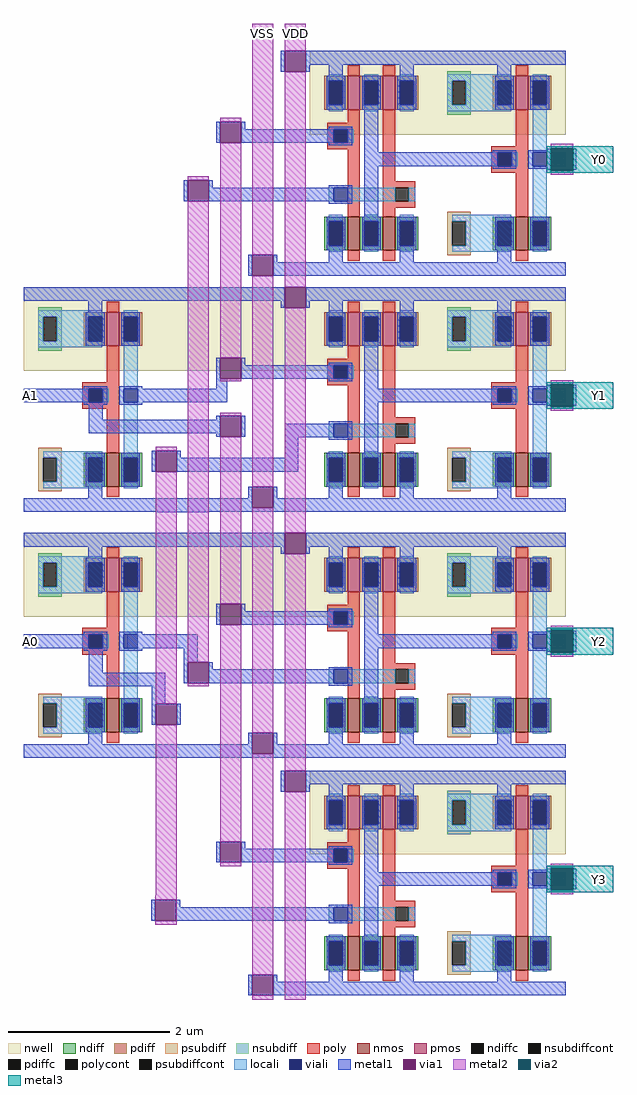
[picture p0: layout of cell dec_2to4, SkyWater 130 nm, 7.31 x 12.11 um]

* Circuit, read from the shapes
.subckt dec_2to4 A0 A1 VDD VSS Y0 Y1 Y2 Y3
XM1 nand2_0/B A0 VSS VSS sky130_fd_pr__nfet_01v8 w=0.42 l=0.15
XM2 nand2_0/A A1 VSS VSS sky130_fd_pr__nfet_01v8 w=0.42 l=0.15
XM3 not_3/A A1 VSS VSS sky130_fd_pr__nfet_01v8 w=0.42 l=0.15
XM4 not_2/A A1 VSS VSS sky130_fd_pr__nfet_01v8 w=0.42 l=0.15
XM5 not_1/A nand2_0/A VSS VSS sky130_fd_pr__nfet_01v8 w=0.42 l=0.15
XM6 not_0/A nand2_0/A VSS VSS sky130_fd_pr__nfet_01v8 w=0.42 l=0.15
XM7 VSS A0 not_3/A VSS sky130_fd_pr__nfet_01v8 w=0.42 l=0.15
XM8 VSS nand2_0/B not_2/A VSS sky130_fd_pr__nfet_01v8 w=0.42 l=0.15
XM9 VSS A0 not_1/A VSS sky130_fd_pr__nfet_01v8 w=0.42 l=0.15
XM10 VSS nand2_0/B not_0/A VSS sky130_fd_pr__nfet_01v8 w=0.42 l=0.15
XM11 Y3 not_3/A VSS VSS sky130_fd_pr__nfet_01v8 w=0.42 l=0.15
XM12 Y2 not_2/A VSS VSS sky130_fd_pr__nfet_01v8 w=0.42 l=0.15
XM13 Y1 not_1/A VSS VSS sky130_fd_pr__nfet_01v8 w=0.42 l=0.15
XM14 Y0 not_0/A VSS VSS sky130_fd_pr__nfet_01v8 w=0.42 l=0.15
XM15 nand2_0/B A0 VDD VDD sky130_fd_pr__pfet_01v8 w=0.42 l=0.15
XM16 nand2_0/A A1 VDD VDD sky130_fd_pr__pfet_01v8 w=0.42 l=0.15
XM17 not_3/A A1 VDD VDD sky130_fd_pr__pfet_01v8 w=0.42 l=0.15
XM18 not_2/A A1 VDD VDD sky130_fd_pr__pfet_01v8 w=0.42 l=0.15
XM19 not_1/A nand2_0/A VDD VDD sky130_fd_pr__pfet_01v8 w=0.42 l=0.15
XM20 not_0/A nand2_0/A VDD VDD sky130_fd_pr__pfet_01v8 w=0.42 l=0.15
XM21 VDD A0 not_3/A VDD sky130_fd_pr__pfet_01v8 w=0.42 l=0.15
XM22 VDD nand2_0/B not_2/A VDD sky130_fd_pr__pfet_01v8 w=0.42 l=0.15
XM23 VDD A0 not_1/A VDD sky130_fd_pr__pfet_01v8 w=0.42 l=0.15
XM24 VDD nand2_0/B not_0/A VDD sky130_fd_pr__pfet_01v8 w=0.42 l=0.15
XM25 Y3 not_3/A VDD VDD sky130_fd_pr__pfet_01v8 w=0.42 l=0.15
XM26 Y2 not_2/A VDD VDD sky130_fd_pr__pfet_01v8 w=0.42 l=0.15
XM27 Y1 not_1/A VDD VDD sky130_fd_pr__pfet_01v8 w=0.42 l=0.15
XM28 Y0 not_0/A VDD VDD sky130_fd_pr__pfet_01v8 w=0.42 l=0.15
.ends

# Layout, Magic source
magic
tech sky130A
magscale 1 2
<< nwell >>
rect 330 1560 709 1768
rect 330 950 709 1158
<< metal1 >>
rect 637 2302 647 2354
rect 699 2302 709 2354
rect 477 2126 487 2178
rect 539 2160 549 2178
rect 539 2126 711 2160
rect 1299 2059 1309 2111
rect 1361 2059 1371 2111
rect 397 1981 407 2033
rect 459 2015 469 2033
rect 459 1981 709 2015
rect 557 1796 567 1848
rect 619 1830 629 1848
rect 619 1796 709 1830
rect 328 1734 647 1768
rect 637 1716 647 1734
rect 699 1716 709 1768
rect 477 1540 487 1592
rect 539 1574 549 1592
rect 539 1540 709 1574
rect 477 1516 505 1540
rect 1299 1522 1309 1525
rect 0 1482 34 1516
rect 330 1482 505 1516
rect 161 1439 195 1482
rect 1297 1476 1309 1522
rect 1299 1473 1309 1476
rect 1361 1473 1371 1525
rect 477 1439 487 1448
rect 161 1405 487 1439
rect 477 1396 487 1405
rect 539 1396 549 1448
rect 647 1395 709 1429
rect 317 1310 327 1362
rect 379 1344 389 1362
rect 647 1344 681 1395
rect 379 1310 681 1344
rect 557 1244 567 1272
rect 327 1220 567 1244
rect 619 1244 629 1272
rect 619 1220 709 1244
rect 327 1210 709 1220
rect 327 1209 455 1210
rect 257 1124 647 1158
rect 637 1106 647 1124
rect 699 1106 709 1158
rect 477 930 487 982
rect 539 964 549 982
rect 539 930 709 964
rect 1299 912 1309 915
rect 0 872 34 906
rect 257 872 431 906
rect 161 811 195 872
rect 397 837 431 872
rect 1297 866 1309 912
rect 1299 863 1309 866
rect 1361 863 1371 915
rect 161 777 351 811
rect 397 785 407 837
rect 459 819 469 837
rect 459 785 709 819
rect 317 734 351 777
rect 317 682 327 734
rect 379 682 389 734
rect 557 634 567 662
rect 257 610 567 634
rect 619 634 629 662
rect 619 610 709 634
rect 257 600 709 610
rect 637 516 647 568
rect 699 516 709 568
rect 477 340 487 392
rect 539 374 549 392
rect 539 340 709 374
rect 1299 322 1309 325
rect 1297 276 1309 322
rect 1299 273 1309 276
rect 1361 273 1371 325
rect 316 195 326 247
rect 378 229 388 247
rect 378 195 709 229
rect 557 10 567 62
rect 619 44 629 62
rect 619 10 709 44
<< via1 >>
rect 647 2302 699 2354
rect 487 2126 539 2178
rect 1309 2059 1361 2111
rect 407 1981 459 2033
rect 567 1796 619 1848
rect 647 1716 699 1768
rect 487 1540 539 1592
rect 1309 1473 1361 1525
rect 487 1396 539 1448
rect 327 1310 379 1362
rect 567 1220 619 1272
rect 647 1106 699 1158
rect 487 930 539 982
rect 1309 863 1361 915
rect 407 785 459 837
rect 327 682 379 734
rect 567 610 619 662
rect 647 516 699 568
rect 487 340 539 392
rect 1309 273 1361 325
rect 326 195 378 247
rect 567 10 619 62
<< metal2 >>
rect 487 2178 539 2188
rect 407 2033 459 2043
rect 327 1362 379 1372
rect 327 734 379 1310
rect 407 837 459 1981
rect 487 1592 539 2126
rect 487 1534 539 1540
rect 567 1848 619 2422
rect 407 777 459 785
rect 487 1448 539 1456
rect 487 982 539 1396
rect 327 257 379 682
rect 487 392 539 930
rect 487 331 539 340
rect 567 1272 619 1796
rect 567 662 619 1220
rect 326 247 379 257
rect 378 195 379 247
rect 326 185 379 195
rect 567 62 619 610
rect 567 0 619 10
rect 647 2354 699 2422
rect 647 1768 699 2302
rect 1307 2113 1363 2123
rect 1307 2047 1363 2057
rect 647 1158 699 1716
rect 1307 1527 1363 1537
rect 1307 1461 1363 1471
rect 647 568 699 1106
rect 1307 917 1363 927
rect 1307 851 1363 861
rect 647 0 699 516
rect 1307 327 1363 337
rect 1307 261 1363 271
<< via2 >>
rect 1307 2111 1363 2113
rect 1307 2059 1309 2111
rect 1309 2059 1361 2111
rect 1361 2059 1363 2111
rect 1307 2057 1363 2059
rect 1307 1525 1363 1527
rect 1307 1473 1309 1525
rect 1309 1473 1361 1525
rect 1361 1473 1363 1525
rect 1307 1471 1363 1473
rect 1307 915 1363 917
rect 1307 863 1309 915
rect 1309 863 1361 915
rect 1361 863 1363 915
rect 1307 861 1363 863
rect 1307 325 1363 327
rect 1307 273 1309 325
rect 1309 273 1361 325
rect 1361 273 1363 325
rect 1307 271 1363 273
<< metal3 >>
rect 1297 2113 1462 2118
rect 1297 2057 1307 2113
rect 1363 2057 1462 2113
rect 1297 2052 1462 2057
rect 1297 1527 1462 1532
rect 1297 1471 1307 1527
rect 1363 1471 1462 1527
rect 1297 1466 1462 1471
rect 1297 917 1462 922
rect 1297 861 1307 917
rect 1363 861 1462 917
rect 1297 856 1462 861
rect 1297 327 1462 332
rect 1297 271 1307 327
rect 1363 271 1462 327
rect 1297 266 1462 271
use nand2  nand2_0 ~/Desktop/FabRAM/FE/sram130/nand2
transform 1 0 709 0 1 1705
box 0 91 306 649
use nand2  nand2_1
transform 1 0 709 0 1 1119
box 0 91 306 649
use nand2  nand2_2
transform 1 0 709 0 1 509
box 0 91 306 649
use nand2  nand2_3
transform 1 0 709 0 1 -81
box 0 91 306 649
use not  not_0 ~/Desktop/FabRAM/FE/sram130/not
transform 1 0 1015 0 1 1705
box 0 91 330 649
use not  not_1
transform 1 0 1015 0 1 1119
box 0 91 330 649
use not  not_2
transform 1 0 1015 0 1 509
box 0 91 330 649
use not  not_3
transform 1 0 1015 0 1 -81
box 0 91 330 649
use not  not_5
transform 1 0 0 0 1 509
box 0 91 330 649
use not  not_6
transform 1 0 0 0 1 1119
box 0 91 330 649
<< labels >>
rlabel metal3 1396 2052 1462 2118 0 Y0
rlabel metal3 1396 1466 1462 1532 0 Y1
rlabel metal3 1396 856 1462 922 0 Y2
rlabel metal3 1396 266 1462 332 0 Y3
rlabel metal2 567 2370 619 2422 0 VSS
rlabel metal2 647 2370 699 2422 0 VDD
rlabel metal1 0 1482 34 1516 0 A1
rlabel metal1 0 872 34 906 0 A0
<< end >>

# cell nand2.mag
magic
tech sky130A
magscale 1 2
<< poly >>
rect 94 471 124 477
rect 44 455 124 471
rect 44 421 60 455
rect 94 421 124 455
rect 44 405 124 421
rect 94 264 124 405
rect 182 326 212 477
rect 182 310 262 326
rect 182 276 212 310
rect 246 276 262 310
rect 182 264 262 276
rect 212 260 262 264
<< polycont >>
rect 60 421 94 455
rect 212 276 246 310
<< locali >>
rect 44 421 60 455
rect 94 421 110 455
rect 48 276 60 310
rect 94 276 212 310
rect 246 276 262 310
<< viali >>
rect 60 421 94 455
rect 60 276 94 310
<< metal1 >>
rect 0 615 306 649
rect 48 587 82 615
rect 224 587 258 615
rect 48 455 106 461
rect 0 421 60 455
rect 94 421 106 455
rect 48 415 106 421
rect 136 397 170 503
rect 136 363 306 397
rect 48 310 106 316
rect 0 276 60 310
rect 94 276 106 310
rect 48 270 106 276
rect 136 238 170 363
rect 48 125 82 154
rect 224 125 258 154
rect 0 91 306 125
use sky130_fd_pr__nfet_01v8_A6LSUL  m1 ~/Desktop/FabRAM/FE/sram130/common
transform 1 0 109 0 1 196
box -73 -68 73 68
use sky130_fd_pr__nfet_01v8_A6LSUL  m2
transform -1 0 197 0 1 196
box -73 -68 73 68
use sky130_fd_pr__pfet_01v8_4Y88KP  m3 ~/Desktop/FabRAM/FE/sram130/common
transform 1 0 109 0 1 545
box -109 -104 109 104
use sky130_fd_pr__pfet_01v8_4Y88KP  m4
transform -1 0 197 0 1 545
box -109 -104 109 104
<< labels >>
rlabel metal1 0 615 34 649 0 VDD
rlabel metal1 0 421 34 455 0 A
rlabel metal1 0 276 34 310 0 B
rlabel metal1 0 91 34 125 0 VSS
rlabel metal1 272 363 306 397 0 Y
<< end >>

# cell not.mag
magic
tech sky130A
magscale 1 2
<< nwell >>
rect 0 441 112 649
<< psubdiff >>
rect 36 226 94 250
rect 36 166 48 226
rect 82 166 94 226
rect 36 142 94 166
<< nsubdiff >>
rect 36 575 94 599
rect 36 515 48 575
rect 82 515 94 575
rect 36 491 94 515
<< psubdiffcont >>
rect 48 166 82 226
<< nsubdiffcont >>
rect 48 515 82 575
<< poly >>
rect 206 413 236 477
rect 145 397 236 413
rect 145 363 161 397
rect 195 363 236 397
rect 145 347 236 363
rect 206 264 236 347
<< polycont >>
rect 161 363 195 397
<< locali >>
rect 36 575 194 591
rect 36 515 48 575
rect 82 515 194 575
rect 36 499 194 515
rect 248 397 282 499
rect 145 363 161 397
rect 195 363 211 397
rect 248 242 282 363
rect 48 226 194 242
rect 82 166 194 226
rect 48 150 194 166
<< viali >>
rect 161 363 195 397
rect 248 363 282 397
<< metal1 >>
rect 0 615 330 649
rect 160 587 194 615
rect 149 397 207 403
rect 0 363 161 397
rect 195 363 207 397
rect 149 357 207 363
rect 236 397 294 403
rect 236 363 248 397
rect 282 363 330 397
rect 236 357 294 363
rect 160 125 194 154
rect 0 91 330 125
use sky130_fd_pr__pfet_01v8_4Y88KP  m1 ~/Desktop/FabRAM/FE/sram130/common
transform 1 0 221 0 1 545
box -109 -104 109 104
use sky130_fd_pr__nfet_01v8_A6LSUL  m2 ~/Desktop/FabRAM/FE/sram130/common
transform 1 0 221 0 1 196
box -73 -68 73 68
<< labels >>
rlabel metal1 296 363 330 397 0 B
rlabel metal1 0 615 34 649 0 VDD
rlabel metal1 0 363 34 397 0 A
rlabel metal1 0 91 34 125 0 VSS
<< end >>

# cell sky130_fd_pr__pfet_01v8_4Y88KP: kit device sky130_fd_pr__pfet_01v8, w 0.42 l 0.15 m 1 nf 1 diffcov 100 polycov 100 guard 0 glc 0 grc 0 gtc 0 gbc 0 tbcov 100 rlcov 100 topc 0 botc 0 poverlap 0 doverlap 0 lmin 0.15 wmin 0.42 compatible {sky130_fd_pr__pfet_01v8 sky130_fd_pr__pfet_01v8_lvt sky130_fd_pr__pfet_01v8_hvt sky130_fd_pr__pfet_g5v0d10v5} full_metal 0 viasrc 100 viadrn 100 viagate 100 viagb 0 viagr 0 viagl 0 viagt 0

# cell sky130_fd_pr__nfet_01v8_A6LSUL: kit device sky130_fd_pr__nfet_01v8, w 0.420 l 0.150 m 1 nf 1 diffcov 100 polycov 100 guard 0 glc 0 grc 0 gtc 0 gbc 0 tbcov 100 rlcov 100 topc 0 botc 0 poverlap 0 doverlap 0 lmin 0.15 wmin 0.42 compatible {sky130_fd_pr__nfet_01v8 sky130_fd_pr__nfet_01v8_lvt sky130_fd_bs_flash__special_sonosfet_star sky130_fd_pr__nfet_g5v0d10v5 sky130_fd_pr__nfet_05v0_nvt sky130_fd_pr__nfet_03v3_nvt} full_metal 0 viasrc 100 viadrn 100 viagate 100 viagb 0 viagr 0 viagl 0 viagt 0
